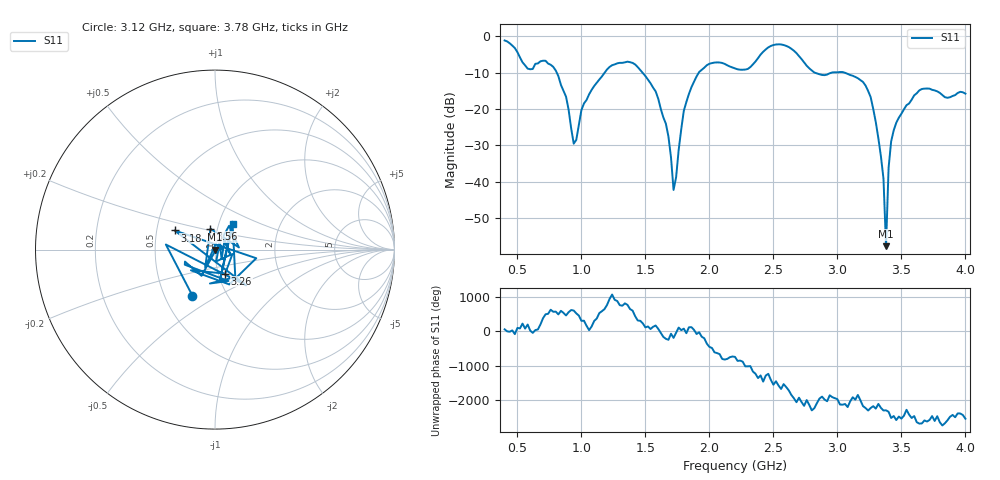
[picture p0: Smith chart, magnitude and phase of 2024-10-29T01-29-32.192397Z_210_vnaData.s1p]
!Created with skrf (http://scikit-rf.org).
# Hz S RI R 50.0
!freq ReS11 ImS11
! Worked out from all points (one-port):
!   181 points, 400 MHz to 4 GHz, reference 50 ohm
!   lowest |S11| = -57.6 dB at 3.38 GHz (marker M1), VSWR 1.00, Z = 49.9 - j0.0948 ohm
!   |S11| at or under -10 dB: 807 MHz to 1.183 GHz (376 MHz wide, 37.8 % of centre); 1.478 GHz to 1.917 GHz (439.1 MHz wide, 25.9 % of centre); 3.053 GHz to end of sweep (the widest 3 of 4)
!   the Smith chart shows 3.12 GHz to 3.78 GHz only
!   S11 on the Smith chart (normalised r, x): 3.12 GHz: 0.69, -0.38; 3.18 GHz: 0.62, +0.14; 3.26 GHz: 1.08, -0.29; 3.56 GHz: 0.93, +0.22; 3.78 GHz: 1.17, +0.34
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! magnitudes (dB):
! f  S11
! 400 MHz  -1.2
! 580 MHz  -8.9
! 780 MHz  -8.4
! 860 MHz  -15.0
! 940 MHz  -29.5
! 1.06 GHz  -16.0
! 1.3 GHz  -7.3
! 1.58 GHz  -15.2
! 1.68 GHz  -27.5
! 1.72 GHz  -42.2
! 1.76 GHz  -31.2
! 1.8 GHz  -20.5
! 1.92 GHz  -9.8
! 2.2 GHz  -8.9
! 2.5 GHz  -2.5
! 2.66 GHz  -4.0
! 2.82 GHz  -10.0
! 3.1 GHz  -10.7
! 3.12 GHz  -10.9
! 3.18 GHz  -12.1
! 3.26 GHz  -16.7
! 3.36 GHz  -39.1
! 3.38 GHz  -57.6
! 3.4 GHz  -36.1
! 3.42 GHz  -28.9
! 3.56 GHz  -18.5
! 3.78 GHz  -15.2
! 4 GHz  -15.8
